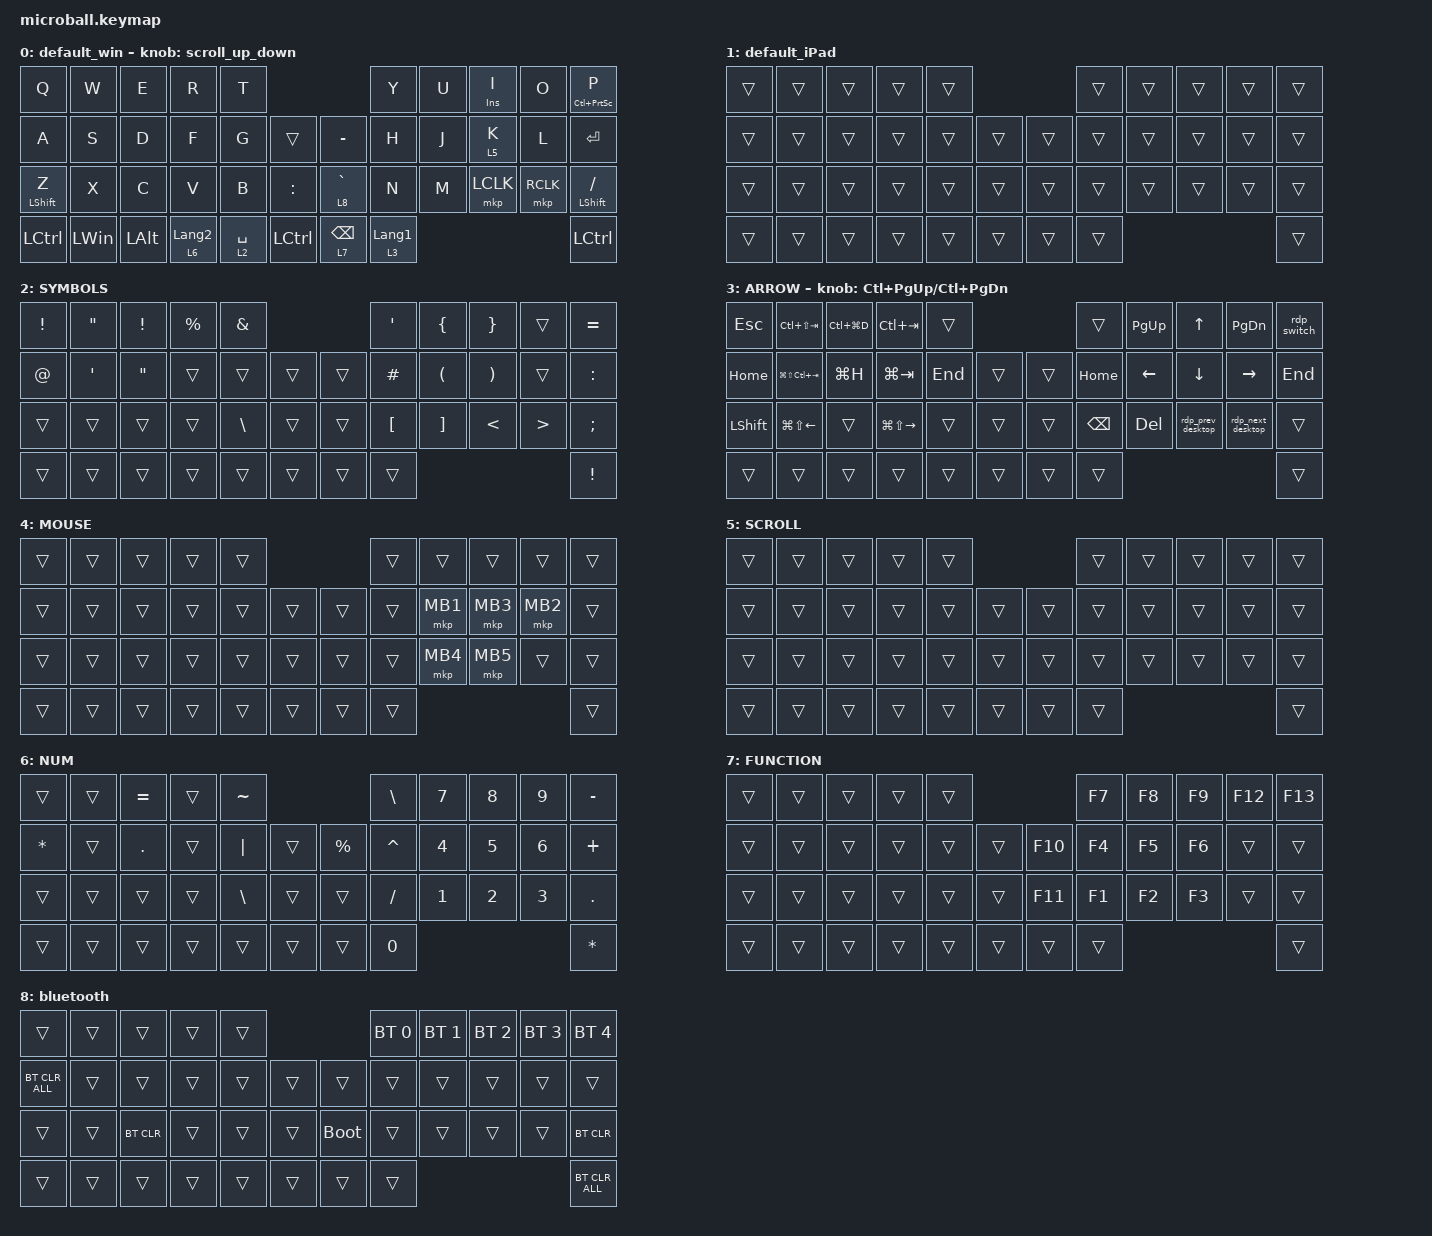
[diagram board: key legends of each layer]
#include <behaviors.dtsi>
#include <dt-bindings/zmk/bt.h>
#include <dt-bindings/zmk/keys.h>
#include <dt-bindings/zmk/pointing.h>

#define ZMK_POINTING_DEFAULT_SCRL_VAL 100
#define MOUSE 4
#define SCROLL 5
#define NUM 6

&mt {
    flavor = "balanced";
    quick-tap-ms = <0>;
};

/ {
    combos {
        compatible = "zmk,combos";

        escape {
            bindings = <&kp ESCAPE>;
            key-positions = <0 1>;
        };

        tab {
            bindings = <&kp TAB>;
            key-positions = <10 11>;
        };

        shift_tab {
            bindings = <&kp LS(TAB)>;
            key-positions = <11 12>;
        };

        middleClick {
            bindings = <&mkp MB3>;
            key-positions = <20 19>;
        };

        eq {
            bindings = <&kp EQUAL>;
            key-positions = <8 9>;
        };

        comma {
            bindings = <&kp COMMA>;
            key-positions = <31 18>;
        };

        dot {
            bindings = <&kp DOT>;
            key-positions = <32 18>;
        };

        return {
            bindings = <&kp RETURN>;
            key-positions = <21 33>;
        };

        scroll {
            bindings = <&mo 5>;
            key-positions = <32 31>;
        };

        browserBack {
            bindings = <&mkp MB4>;
            key-positions = <31 30>;
        };

        nextClick {
            bindings = <&mkp MB5>;
            key-positions = <31 29>;
        };

        return2 {
            bindings = <&kp RETURN>;
            key-positions = <9 21>;
        };

        ctrlZ {
            bindings = <&kp LC(Z)>;
            key-positions = <18 19>;
        };

        ctrlY {
            bindings = <&kp LC(Y)>;
            key-positions = <19 17>;
        };
    };

    macros {
        to_layer_0: to_layer_0 {
            compatible = "zmk,behavior-macro-one-param";
            #binding-cells = <1>;
            bindings = <&to 0 &macro_param_1to1 &kp MACRO_PLACEHOLDER>;
            label = "TO_LAYER_0";
        };

        rdp_switch: rdp_switch {
            compatible = "zmk,behavior-macro";
            #binding-cells = <0>;
            bindings =
                <&macro_press>,
                <&kp LCTRL &kp LALT>,
                <&macro_pause_for_release>,
                <&macro_tap>,
                <&kp HOME>,
                <&macro_pause_for_release>,
                <&macro_release>,
                <&kp LCTRL &kp LALT>;

            label = "RDP_SWITCH";
        };

        rdp_prev_desktop: rdp_prev_desktop {
            compatible = "zmk,behavior-macro";
            #binding-cells = <0>;
            wait-ms = <20>;
            bindings =
                <&macro_press>,
                <&kp LGUI &kp LCTRL>,
                <&macro_pause_for_release>,
                <&macro_tap>,
                <&kp LEFT_ARROW>,
                <&macro_pause_for_release>,
                <&macro_release>,
                <&kp LGUI &kp LCTRL>;

            label = "RDP_PREV_DESKTOP";
        };

        rdp_next_desktop: rdp_next_desktop {
            compatible = "zmk,behavior-macro";
            #binding-cells = <0>;
            wait-ms = <20>;
            bindings =
                <&macro_press>,
                <&kp LGUI &kp LCTRL>,
                <&macro_pause_for_release>,
                <&macro_tap>,
                <&kp RIGHT_ARROW>,
                <&macro_pause_for_release>,
                <&macro_release>,
                <&kp LGUI &kp LCTRL>;

            label = "RDP_NEXT_DESKTOP";
        };
    };

    behaviors {
        lt_to_layer_0: lt_to_layer_0 {
            compatible = "zmk,behavior-hold-tap";
            label = "LAYER_TAP_TO_0";
            bindings = <&mo>, <&to_layer_0>;

            #binding-cells = <2>;
            tapping-term-ms = <200>;
        };

        scroll_up_down: behavior_sensor_rotate_mouse_wheel_up_down {
            compatible = "zmk,behavior-sensor-rotate";
            #sensor-binding-cells = <0>;
            bindings = <&msc SCRL_UP>, <&msc SCRL_DOWN>;

            tap-ms = <20>;
        };
    };

    keymap {
        compatible = "zmk,keymap";

        default_win {
            bindings = <
&kp Q             &kp W         &kp E         &kp R             &kp T                                        &kp Y             &kp U  &mt INSERT I  &kp O      &mt LC(PRINTSCREEN) P
&kp A             &kp S         &kp D         &kp F             &kp G        &trans         &kp MINUS        &kp H             &kp J  &lt 5 K       &kp L      &kp ENTER
&mt LEFT_SHIFT Z  &kp X         &kp C         &kp V             &kp B        &kp COLON      &lt 8 GRAVE      &kp N             &kp M  &mkp LCLK     &mkp RCLK  &mt LEFT_SHIFT SLASH
&kp LCTRL         &kp LEFT_WIN  &kp LEFT_ALT  &lt 6 LANGUAGE_2  &lt 2 SPACE  &kp LCTRL      &lt 7 BACKSPACE  &lt 3 LANGUAGE_1                                  &kp LCTRL
            >;

            sensor-bindings = <&scroll_up_down>;
        };

        default_iPad {
            bindings = <
&trans  &trans  &trans  &trans  &trans                      &trans  &trans  &trans  &trans  &trans
&trans  &trans  &trans  &trans  &trans  &trans      &trans  &trans  &trans  &trans  &trans  &trans
&trans  &trans  &trans  &trans  &trans  &trans      &trans  &trans  &trans  &trans  &trans  &trans
&trans  &trans  &trans  &trans  &trans  &trans      &trans  &trans                          &trans
            >;
        };

        SYMBOLS {
            bindings = <
&kp EXCLAMATION  &kp DOUBLE_QUOTES  &kp EXCLAMATION    &kp PERCENT  &kp AMPERSAND                      &kp SQT           &kp LEFT_BRACE        &kp RIGHT_BRACE        &trans            &kp EQUAL
&kp AT           &kp SINGLE_QUOTE   &kp DOUBLE_QUOTES  &trans       &trans         &trans      &trans  &kp HASH          &kp LEFT_PARENTHESIS  &kp RIGHT_PARENTHESIS  &trans            &kp COLON
&trans           &trans             &trans             &trans       &kp BACKSLASH  &trans      &trans  &kp LEFT_BRACKET  &kp RIGHT_BRACKET     &kp LESS_THAN          &kp GREATER_THAN  &kp SEMI
&trans           &trans             &trans             &trans       &trans         &trans      &trans  &trans                                                                           &kp EXCLAMATION
            >;
        };

        ARROW {
            bindings = <
&kp ESCAPE      &kp LC(LS(TAB))         &kp LC(LG(D))  &kp LC(TAB)              &trans                       &trans         &kp PAGE_UP     &kp UP_ARROW       &kp PAGE_DOWN      &rdp_switch
&kp HOME        &kp LG(LS(LC(TAB)))     &kp LG(H)      &kp LG(TAB)              &kp END  &trans      &trans  &kp HOME       &kp LEFT_ARROW  &kp DOWN_ARROW     &kp RIGHT_ARROW    &kp END
&kp LEFT_SHIFT  &kp LG(LS(LEFT_ARROW))  &trans         &kp LG(LS(RIGHT_ARROW))  &trans   &trans      &trans  &kp BACKSPACE  &kp DEL         &rdp_prev_desktop  &rdp_next_desktop  &trans
&trans          &trans                  &trans         &trans                   &trans   &trans      &trans  &trans                                                               &trans
            >;

            sensor-bindings = <&inc_dec_kp LC(PAGE_UP) LC(PAGE_DOWN)>;
        };

        MOUSE {
            bindings = <
&trans  &trans  &trans  &trans  &trans                      &trans  &trans    &trans    &trans    &trans
&trans  &trans  &trans  &trans  &trans  &trans      &trans  &trans  &mkp MB1  &mkp MB3  &mkp MB2  &trans
&trans  &trans  &trans  &trans  &trans  &trans      &trans  &trans  &mkp MB4  &mkp MB5  &trans    &trans
&trans  &trans  &trans  &trans  &trans  &trans      &trans  &trans                                &trans
            >;
        };

        SCROLL {
            bindings = <
&trans  &trans  &trans  &trans  &trans                      &trans  &trans  &trans  &trans  &trans
&trans  &trans  &trans  &trans  &trans  &trans      &trans  &trans  &trans  &trans  &trans  &trans
&trans  &trans  &trans  &trans  &trans  &trans      &trans  &trans  &trans  &trans  &trans  &trans
&trans  &trans  &trans  &trans  &trans  &trans      &trans  &trans                          &trans
            >;
        };

        NUM {
            bindings = <
&trans     &trans  &kp EQUAL  &trans  &kp TILDE                               &kp BACKSLASH  &kp NUMBER_7  &kp NUMBER_8  &kp NUMBER_9  &kp MINUS
&kp ASTRK  &trans  &kp DOT    &trans  &kp PIPE       &trans      &kp PERCENT  &kp CARET      &kp NUMBER_4  &kp NUMBER_5  &kp NUMBER_6  &kp PLUS
&trans     &trans  &trans     &trans  &kp BACKSLASH  &trans      &trans       &kp SLASH      &kp NUMBER_1  &kp NUMBER_2  &kp NUMBER_3  &kp DOT
&trans     &trans  &trans     &trans  &trans         &trans      &trans       &kp NUMBER_0                                             &kp ASTRK
            >;
        };

        FUNCTION {
            bindings = <
&trans  &trans  &trans  &trans  &trans                       &kp F7  &kp F8  &kp F9  &kp F12  &kp F13
&trans  &trans  &trans  &trans  &trans  &trans      &kp F10  &kp F4  &kp F5  &kp F6  &trans   &trans
&trans  &trans  &trans  &trans  &trans  &trans      &kp F11  &kp F1  &kp F2  &kp F3  &trans   &trans
&trans  &trans  &trans  &trans  &trans  &trans      &trans   &trans                           &trans
            >;
        };

        bluetooth {
            bindings = <
&trans          &trans  &trans      &trans  &trans                           &bt BT_SEL 0  &bt BT_SEL 1  &bt BT_SEL 2  &bt BT_SEL 3  &bt BT_SEL 4
&bt BT_CLR_ALL  &trans  &trans      &trans  &trans  &trans      &trans       &trans        &trans        &trans        &trans        &trans
&trans          &trans  &bt BT_CLR  &trans  &trans  &trans      &bootloader  &trans        &trans        &trans        &trans        &bt BT_CLR
&trans          &trans  &trans      &trans  &trans  &trans      &trans       &trans                                                  &bt BT_CLR_ALL
            >;
        };
    };
};
